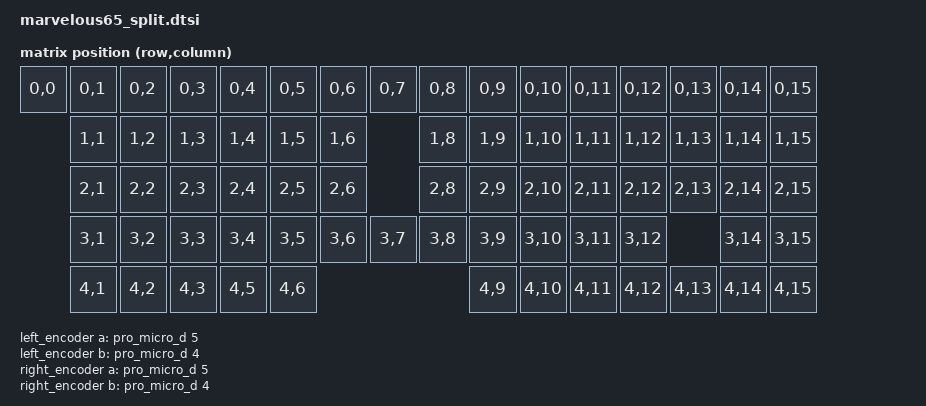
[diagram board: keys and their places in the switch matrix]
/*
 * Copyright (c) 2020 The ZMK Contributors
 *
 * SPDX-License-Identifier: MIT
 */

#include <dt-bindings/zmk/matrix_transform.h>

/ {
	
	chosen {
	    zmk,kscan = &kscan0;

	    zmk,matrix_transform = &default_transform;
	};

	/* 
	 * This transform correspondsto the 60% left without macro keypad and 65% right, even this
	 * combination of PCBs can have keys in different locations based on configuration.
	 */
	default_transform: keymap_transform_0 {
		compatible = "zmk,matrix-transform";
		columns = <16>;
		rows = <5>;
		map = <
RC(0,0) RC(0,1) RC(0,2) RC(0,3) RC(0,4) RC(0,5) RC(0,6) RC(0,7) /**/ RC(0,8) RC(0,9) RC(0,10) RC(0,11) RC(0,12) RC(0,13) RC(0,14) RC(0,15)
        RC(1,1) RC(1,2) RC(1,3) RC(1,4) RC(1,5) RC(1,6)         /**/ RC(1,8) RC(1,9) RC(1,10) RC(1,11) RC(1,12) RC(1,13) RC(1,14) RC(1,15)
        RC(2,1) RC(2,2) RC(2,3) RC(2,4) RC(2,5) RC(2,6)         /**/ RC(2,8) RC(2,9) RC(2,10) RC(2,11) RC(2,12) RC(2,13) RC(2,14) RC(2,15)
        RC(3,1) RC(3,2) RC(3,3) RC(3,4) RC(3,5) RC(3,6) RC(3,7) /**/ RC(3,8) RC(3,9) RC(3,10) RC(3,11) RC(3,12)          RC(3,14) RC(3,15)
        RC(4,1) RC(4,2) RC(4,3) RC(4,5) RC(4,6)                 /**/         RC(4,9) RC(4,10) RC(4,11) RC(4,12) RC(4,13) RC(4,14) RC(4,15)
		>;
	};

	left_encoder: encoder_left {
		compatible = "alps,ec11";
		label = "LEFT_ENCODER";
		a-gpios = <&pro_micro_d 5 (GPIO_ACTIVE_HIGH | GPIO_PULL_UP)>;
		b-gpios = <&pro_micro_d 4 (GPIO_ACTIVE_HIGH | GPIO_PULL_UP)>;
		resolution = <4>;
		status = "disabled";
	};

	right_encoder: encoder_right {
		compatible = "alps,ec11";
		label = "RIGHT_ENCODER";
		a-gpios = <&pro_micro_d 5 (GPIO_ACTIVE_HIGH | GPIO_PULL_UP)>;
		b-gpios = <&pro_micro_d 4 (GPIO_ACTIVE_HIGH | GPIO_PULL_UP)>;
		resolution = <4>;
		status = "disabled";

	};

	sensors {
		compatible = "zmk,keymap-sensors";
		sensors = <&left_encoder &right_encoder>;
	};

	ext-power { 
		compatible = "zmk,ext-power-generic"; 
		label = "EXT_POWER"; 
		control-gpios = <&gpio1 9 GPIO_ACTIVE_LOW>;
		init-delay-ms = <300>; 
	};


};



&pro_micro_i2c {
	status = "okay";
	oled: ssd1306@3c {
		compatible = "solomon,ssd1306fb";
		reg = <0x3c>;
		label = "DISPLAY";
		width = <128>;
		height = <32>;
		segment-offset = <0>;
		page-offset = <0>;
		display-offset = <0>;
		multiplex-ratio = <31>;
		segment-remap;
		com-invdir;
		com-sequential;
		prechargep = <0x22>;
	};
};

